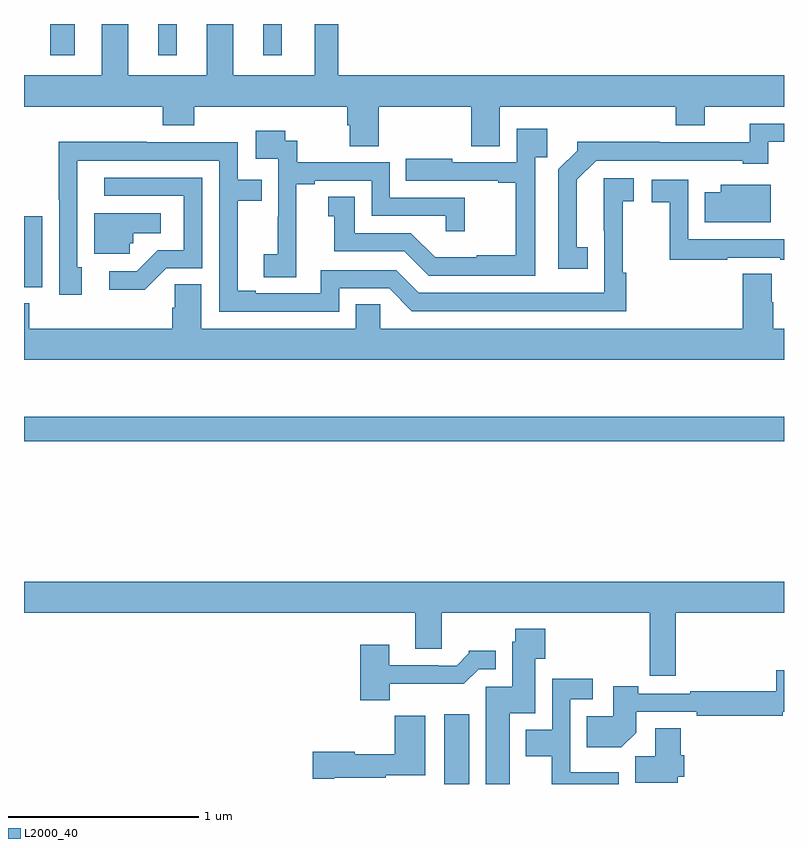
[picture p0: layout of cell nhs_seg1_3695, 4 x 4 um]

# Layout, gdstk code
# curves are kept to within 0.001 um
import gdstk
lib = gdstk.Library(unit=1e-6, precision=1e-09)
def R(c, l, rs):  # rectangles x0, y0, x1, y1
    for r in rs: c.add(gdstk.rectangle(r[:2], r[2:], *l))
def P(c, l, *ps):  # polygons
    for p in ps: c.add(gdstk.Polygon(p, *l))
L2000_40 = (2000, 40)

nhs_seg1_3695 = lib.new_cell('nhs_seg1_3695')
R(nhs_seg1_3695, L2000_40, [(315.212,516.199,315.343,516.565), (313,518.002,317,518.131), (313,518.814,313.095,519.187), (313.139,520.035,313.267,520.199), (313.706,520.035,313.804,520.199), (314.258,520.035,314.356,520.199)])
P(nhs_seg1_3695, L2000_40, [(314.867,519.764),(315.353,519.764),(315.353,519.556),(315.505,519.556),(315.505,519.764),(316.43,519.764),(316.43,519.665),(316.582,519.665),(316.582,519.764),(317,519.764),(317,519.928),(314.653,519.928),(314.653,520.199),(314.531,520.199),(314.531,519.928),(314.101,519.928),(314.101,520.199),(313.961,520.199),(313.961,519.928),(313.549,519.928),(313.549,520.199),(313.409,520.199),(313.409,519.928),(313,519.928),(313,519.764),(313.73,519.764),(313.73,519.665),(313.895,519.665),(313.895,519.764),(314.702,519.764),(314.702,519.666),(314.714,519.666),(314.714,519.556),(314.867,519.556)],
  [(315.968,519.023),(315.91,519.023),(315.91,519.379),(316.011,519.48),(316.782,519.48),(316.782,519.464),(316.918,519.464),(316.918,519.579),(317,519.579),(317,519.675),(316.819,519.675),(316.819,519.576),(316.346,519.576),(316.346,519.578),(315.912,519.578),(315.912,519.533),(315.813,519.434),(315.813,518.91),(315.968,518.91)],
  [(315.69,519.497),(315.755,519.497),(315.755,519.649),(315.594,519.649),(315.594,519.471),(315.253,519.471),(315.253,519.49),(315.01,519.49),(315.01,519.375),(315.497,519.375),(315.497,519.363),(315.589,519.363),(315.589,518.983),(315.383,518.983),(315.383,518.971),(315.164,518.971),(315.036,519.099),(314.74,519.099),(314.74,519.29),(314.6,519.29),(314.6,519.187),(314.633,519.187),(314.633,519.003),(315,519.003),(315.129,518.874),(315.69,518.874)],
  [(314.432,518.977),(314.434,518.977),(314.434,519.355),(314.53,519.355),(314.53,519.375),(314.829,519.375),(314.829,519.189),(315.219,519.189),(315.219,519.108),(315.32,519.108),(315.32,519.285),(314.925,519.285),(314.925,519.471),(314.438,519.471),(314.438,519.585),(314.376,519.585),(314.376,519.637),(314.22,519.637),(314.22,519.489),(314.337,519.489),(314.337,519.185),(314.336,519.185),(314.336,518.988),(314.262,518.988),(314.262,518.866),(314.432,518.866)],
  [(314.658,518.808),(314.922,518.808),(315.042,518.688),(316.169,518.688),(316.169,518.891),(316.152,518.891),(316.152,519.267),(316.21,519.267),(316.21,519.388),(316.052,519.388),(316.053,518.784),(315.078,518.784),(314.958,518.904),(314.562,518.904),(314.562,518.781),(314.221,518.781),(314.221,518.796),(314.125,518.796),(314.125,519.27),(314.252,519.27),(314.252,519.378),(314.124,519.378),(314.124,519.576),(313.646,519.576),(313.646,519.578),(313.184,519.578),(313.185,518.775),(313.303,518.775),(313.303,518.919),(313.281,518.919),(313.281,519.48),(314.028,519.48),(314.028,518.685),(314.658,518.685)],
  [(313.749,518.913),(313.938,518.913),(313.938,519.39),(313.422,519.39),(313.422,519.294),(313.842,519.294),(313.842,519.009),(313.704,519.009),(313.593,518.898),(313.449,518.898),(313.449,518.801),(313.636,518.801)],
  [(316.7,518.97),(316.979,518.97),(316.979,518.958),(317,518.958),(317,519.066),(316.497,519.066),(316.497,519.378),(316.305,519.378),(316.305,519.262),(316.399,519.262),(316.399,518.958),(316.7,518.958)],
  [(316.93,519.352),(316.667,519.352),(316.667,519.313),(316.582,519.313),(316.582,519.155),(316.93,519.155)],
  [(313.557,519.045),(313.575,519.045),(313.575,519.098),(313.72,519.098),(313.72,519.202),(313.37,519.202),(313.37,518.991),(313.557,518.991)],
  [(317,518.596),(316.944,518.596),(316.944,518.735),(316.936,518.735),(316.936,518.885),(316.784,518.885),(316.784,518.596),(314.874,518.596),(314.874,518.723),(314.747,518.723),(314.747,518.596),(313.933,518.596),(313.933,518.828),(313.794,518.828),(313.794,518.705),(313.781,518.705),(313.781,518.596),(313.028,518.596),(313.028,518.729),(313,518.729),(313,518.432),(317,518.432)],
  [(316.43,517.1),(317,517.1),(317,517.264),(313,517.264),(313,517.1),(315.059,517.1),(315.059,516.91),(315.199,516.91),(315.199,517.1),(316.294,517.1),(316.294,516.768),(316.43,516.768)],
  [(315.556,516.572),(315.691,516.572),(315.691,516.859),(315.743,516.859),(315.743,517.015),(315.586,517.015),(315.586,516.948),(315.569,516.948),(315.569,516.711),(315.431,516.711),(315.431,516.199),(315.556,516.199)],
  [(314.926,516.726),(315.315,516.726),(315.393,516.804),(315.484,516.804),(315.484,516.901),(315.342,516.901),(315.342,516.886),(315.278,516.822),(315.179,516.822),(315.179,516.825),(314.923,516.825),(314.923,516.931),(314.771,516.931),(314.771,516.641),(314.926,516.641)],
  [(316.222,516.47),(316.222,516.579),(316.54,516.579),(316.54,516.559),(316.994,516.559),(316.994,516.579),(317,516.579),(317,516.799),(316.958,516.799),(316.958,516.688),(316.507,516.688),(316.507,516.675),(316.234,516.675),(316.234,516.713),(316.1,516.713),(316.1,516.556),(315.961,516.556),(315.961,516.392),(316.144,516.392)],
  [(316.129,516.262),(315.876,516.262),(315.876,516.645),(315.994,516.645),(315.994,516.754),(315.78,516.754),(315.78,516.484),(315.641,516.484),(315.641,516.344),(315.778,516.344),(315.778,516.199),(316.129,516.199)],
  [(314.632,516.233),(314.904,516.233),(314.904,516.245),(315.112,516.245),(315.112,516.559),(314.95,516.559),(314.95,516.355),(314.742,516.355),(314.742,516.368),(314.52,516.368),(314.52,516.226),(314.632,516.226)],
  [(316.44,516.237),(316.475,516.237),(316.475,516.351),(316.457,516.351),(316.457,516.493),(316.322,516.493),(316.322,516.344),(316.217,516.344),(316.217,516.206),(316.44,516.206)])

lib.write_gds('nhs_seg1_3695.gds')
